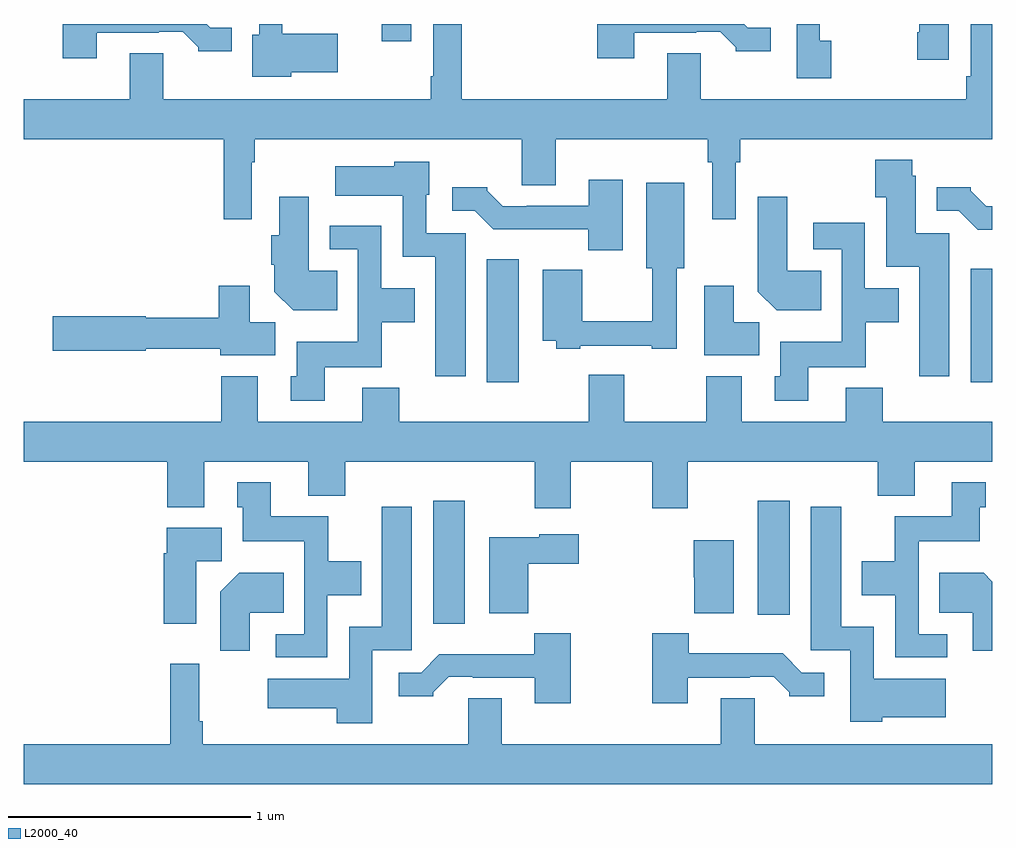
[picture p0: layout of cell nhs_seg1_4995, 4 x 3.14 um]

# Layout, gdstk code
import gdstk
lib = gdstk.Library(unit=1e-6, precision=1e-09)
def R(c, l, rs):  # rectangles x0, y0, x1, y1
    for r in rs: c.add(gdstk.rectangle(r[:2], r[2:], *l))
def P(c, l, *ps):  # polygons
    for p in ps: c.add(gdstk.Polygon(p, *l))
L2000_40 = (2000, 40)

nhs_seg1_4995 = lib.new_cell('nhs_seg1_4995')
R(nhs_seg1_4995, L2000_40, [(382.691,557.721,382.822,558.229), (384.032,557.76,384.163,558.229), (382.913,558.72,383.044,559.228), (384.911,558.72,385,559.189), (382.478,560.127,382.6,560.199)])
P(nhs_seg1_4995, L2000_40, [(381.301,560.163),(381.557,560.163),(381.557,560.166),(381.656,560.166),(381.72,560.102),(381.72,560.087),(381.859,560.087),(381.859,560.184),(381.771,560.184),(381.756,560.199),(381.161,560.199),(381.161,560.058),(381.301,560.058)],
  [(384.336,560.13),(384.288,560.13),(384.288,560.199),(384.192,560.199),(384.192,559.974),(384.336,559.974)],
  [(384.82,560.199),(384.698,560.199),(384.698,560.164),(384.691,560.164),(384.691,560.052),(384.82,560.052)],
  [(382.104,560),(382.297,560),(382.297,560.158),(382.068,560.158),(382.068,560.199),(381.972,560.199),(381.972,560.154),(381.944,560.154),(381.944,559.982),(382.104,559.982)],
  [(381.942,559.628),(381.955,559.628),(381.955,559.724),(383.057,559.724),(383.057,559.534),(383.197,559.534),(383.197,559.724),(383.824,559.724),(383.824,559.628),(383.844,559.628),(383.844,559.392),(383.94,559.392),(383.94,559.628),(383.96,559.628),(383.96,559.724),(385,559.724),(385,560.199),(384.912,560.199),(384.912,559.984),(384.892,559.984),(384.892,559.888),(383.797,559.888),(383.797,560.078),(383.657,560.078),(383.657,559.888),(382.808,559.888),(382.808,560.199),(382.692,560.199),(382.692,559.984),(382.68,559.984),(382.68,559.888),(381.577,559.888),(381.577,560.078),(381.437,560.078),(381.437,559.888),(381,559.888),(381,559.724),(381.826,559.724),(381.826,559.392),(381.942,559.392)],
  [(383.521,560.163),(383.777,560.163),(383.777,560.166),(383.876,560.166),(383.94,560.102),(383.94,560.087),(384.085,560.087),(384.085,560.184),(383.991,560.184),(383.976,560.199),(383.369,560.199),(383.369,560.058),(383.521,560.058)],
  [(384.823,559.335),(384.685,559.335),(384.685,559.572),(384.669,559.572),(384.669,559.639),(384.517,559.639),(384.517,559.483),(384.563,559.483),(384.563,559.196),(384.698,559.196),(384.698,558.744),(384.823,558.744)],
  [(382.825,559.335),(382.662,559.335),(382.662,559.494),(382.675,559.494),(382.675,559.63),(382.53,559.63),(382.53,559.612),(382.287,559.612),(382.287,559.49),(382.566,559.49),(382.566,559.238),(382.7,559.238),(382.7,558.744),(382.825,558.744)],
  [(383.473,559.555),(383.333,559.555),(383.333,559.449),(383.077,559.449),(383.077,559.446),(382.978,559.446),(382.914,559.51),(382.914,559.525),(382.77,559.525),(382.77,559.428),(382.863,559.428),(382.939,559.352),(383.331,559.352),(383.331,559.265),(383.473,559.265)],
  [(383.299,558.87),(383.594,558.87),(383.594,558.858),(383.697,558.858),(383.697,559.19),(383.728,559.19),(383.728,559.543),(383.57,559.543),(383.57,559.19),(383.596,559.19),(383.596,558.971),(383.306,558.971),(383.306,559.183),(383.144,559.183),(383.144,558.89),(383.199,558.89),(383.199,558.858),(383.299,558.858)],
  [(385,559.446),(384.976,559.446),(384.912,559.51),(384.912,559.525),(384.77,559.525),(384.77,559.428),(384.861,559.428),(384.94,559.35),(385,559.35)],
  [(382.295,559.18),(382.177,559.18),(382.177,559.486),(382.055,559.486),(382.055,559.326),(382.022,559.326),(382.022,559.204),(382.034,559.204),(382.034,559.094),(382.112,559.016),(382.295,559.016)],
  [(384.293,559.18),(384.154,559.18),(384.154,559.486),(384.032,559.486),(384.032,559.094),(384.11,559.016),(384.293,559.016)],
  [(384.241,558.782),(384.477,558.782),(384.477,558.968),(384.613,558.968),(384.613,559.108),(384.474,559.108),(384.474,559.378),(384.261,559.378),(384.261,559.269),(384.378,559.269),(384.378,558.886),(384.125,558.886),(384.125,558.744),(384.101,558.744),(384.101,558.642),(384.241,558.642)],
  [(382.243,558.782),(382.479,558.782),(382.479,558.968),(382.615,558.968),(382.615,559.108),(382.476,559.108),(382.476,559.365),(382.263,559.365),(382.263,559.269),(382.38,559.269),(382.38,558.886),(382.127,558.886),(382.127,558.744),(382.103,558.744),(382.103,558.642),(382.243,558.642)],
  [(384.037,558.968),(383.932,558.968),(383.932,559.117),(383.81,559.117),(383.81,558.83),(384.037,558.83)],
  [(382.039,558.968),(381.934,558.968),(381.934,559.117),(381.805,559.117),(381.805,558.986),(381.504,558.986),(381.504,558.992),(381.12,558.992),(381.12,558.85),(381.504,558.85),(381.504,558.858),(381.812,558.858),(381.812,558.83),(382.039,558.83)],
  [(383.259,558.392),(383.596,558.392),(383.596,558.198),(383.743,558.198),(383.743,558.392),(384.527,558.392),(384.527,558.251),(384.679,558.251),(384.679,558.392),(385,558.392),(385,558.556),(384.548,558.556),(384.548,558.697),(384.395,558.697),(384.395,558.556),(383.965,558.556),(383.965,558.745),(383.818,558.745),(383.818,558.556),(383.481,558.556),(383.481,558.751),(383.333,558.751),(383.333,558.556),(382.55,558.556),(382.55,558.697),(382.397,558.697),(382.397,558.556),(381.967,558.556),(381.967,558.745),(381.815,558.745),(381.815,558.556),(381,558.556),(381,558.392),(381.593,558.392),(381.593,558.203),(381.745,558.203),(381.745,558.392),(382.175,558.392),(382.175,558.251),(382.328,558.251),(382.328,558.392),(383.111,558.392),(383.111,558.198),(383.259,558.198)],
  [(384.814,557.679),(384.696,557.679),(384.696,558.062),(384.949,558.062),(384.949,558.204),(384.973,558.204),(384.973,558.307),(384.833,558.307),(384.833,558.166),(384.598,558.166),(384.598,557.98),(384.461,557.98),(384.461,557.84),(384.6,557.84),(384.6,557.583),(384.814,557.583)],
  [(382.254,557.84),(382.393,557.84),(382.393,557.98),(382.257,557.98),(382.257,558.166),(382.021,558.166),(382.021,558.307),(381.881,558.307),(381.881,558.204),(381.905,558.204),(381.905,558.062),(382.158,558.062),(382.158,557.679),(382.041,557.679),(382.041,557.583),(382.254,557.583)],
  [(384.546,557.336),(384.808,557.336),(384.808,557.494),(384.51,557.494),(384.51,557.71),(384.376,557.71),(384.376,558.205),(384.251,558.205),(384.251,557.613),(384.414,557.613),(384.414,557.318),(384.546,557.318)],
  [(382.44,557.613),(382.603,557.613),(382.603,558.205),(382.478,558.205),(382.478,557.71),(382.344,557.71),(382.344,557.494),(382.008,557.494),(382.008,557.372),(382.292,557.372),(382.292,557.31),(382.44,557.31)],
  [(381.712,557.98),(381.817,557.98),(381.817,558.118),(381.59,558.118),(381.59,558.014),(381.578,558.014),(381.578,557.721),(381.712,557.721)],
  [(383.084,557.969),(383.293,557.969),(383.293,558.091),(383.13,558.091),(383.13,558.079),(382.922,558.079),(382.922,557.765),(383.084,557.765)],
  [(383.932,558.067),(383.768,558.067),(383.768,557.913),(383.77,557.913),(383.77,557.765),(383.932,557.765)],
  [(385,557.896),(384.964,557.932),(384.781,557.932),(384.781,557.768),(384.92,557.768),(384.92,557.61),(385,557.61)],
  [(381.934,557.768),(382.073,557.768),(382.073,557.932),(381.89,557.932),(381.812,557.854),(381.812,557.61),(381.934,557.61)],
  [(383.259,557.683),(383.109,557.683),(383.109,557.596),(382.717,557.596),(382.641,557.52),(382.548,557.52),(382.548,557.423),(382.692,557.423),(382.692,557.438),(382.756,557.502),(382.855,557.502),(382.855,557.499),(383.111,557.499),(383.111,557.394),(383.259,557.394)],
  [(383.743,557.499),(383.999,557.499),(383.999,557.502),(384.098,557.502),(384.162,557.438),(384.162,557.423),(384.307,557.423),(384.307,557.52),(384.213,557.52),(384.135,557.599),(383.746,557.599),(383.746,557.683),(383.596,557.683),(383.596,557.394),(383.743,557.394)],
  [(385,557.224),(384.019,557.224),(384.019,557.414),(383.879,557.414),(383.879,557.224),(382.975,557.224),(382.975,557.414),(382.835,557.414),(382.835,557.224),(381.74,557.224),(381.74,557.32),(381.725,557.32),(381.725,557.557),(381.604,557.557),(381.604,557.224),(381,557.224),(381,557.06),(385,557.06)])

lib.write_gds('nhs_seg1_4995.gds')
